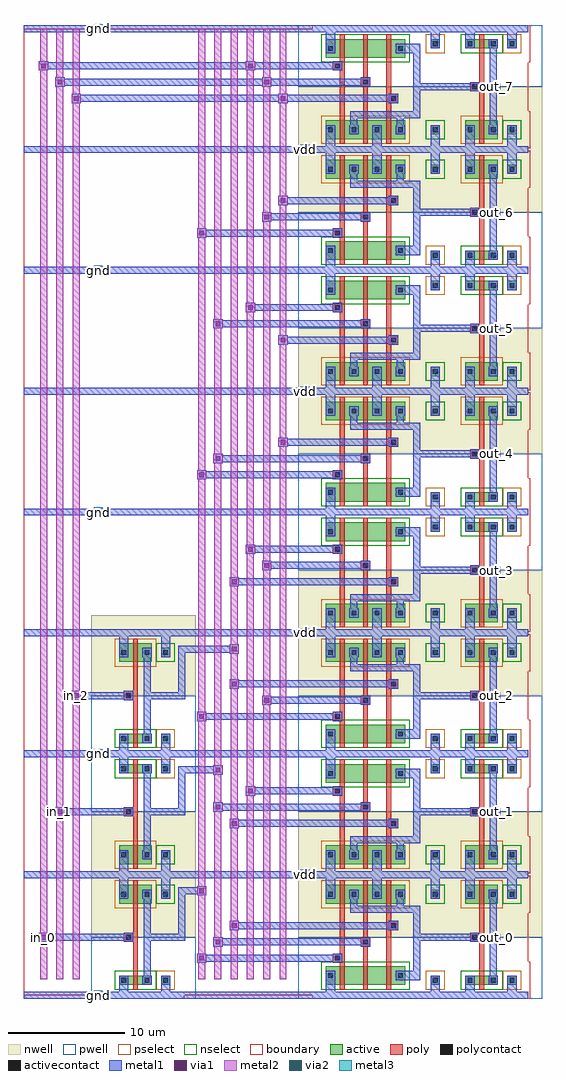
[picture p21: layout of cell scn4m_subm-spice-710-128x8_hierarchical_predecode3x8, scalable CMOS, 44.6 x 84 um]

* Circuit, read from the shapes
.subckt scn4m_subm-spice-710-128x8_hierarchical_predecode3x8 gnd in_0 in_1 in_2 out_0 out_1 out_2 out_3 out_4 out_5 out_6 out_7 vdd
M1 scn4m_subm-spice-710-128x8_and3_dec_3/A in_0 gnd gnd nfet w=0.8u l=0.4u
M2 scn4m_subm-spice-710-128x8_and3_dec_3/B in_1 gnd gnd nfet w=0.8u l=0.4u
M3 scn4m_subm-spice-710-128x8_and3_dec_3/C in_2 gnd gnd nfet w=0.8u l=0.4u
M4 scn4m_subm-spice-710-128x8_and3_dec_3/scn4m_subm-spice-710-128x8_pnand3_0/scn4m_subm-spice-710-128x8_nmos_m1_w1_600_sm1_dactive_3/D scn4m_subm-spice-710-128x8_and3_dec_3/A gnd gnd nfet w=1.6u l=0.4u
M5 scn4m_subm-spice-710-128x8_and3_dec_4/scn4m_subm-spice-710-128x8_pnand3_0/scn4m_subm-spice-710-128x8_nmos_m1_w1_600_sm1_dactive_3/D in_0 gnd gnd nfet w=1.6u l=0.4u
M6 scn4m_subm-spice-710-128x8_and3_dec_5/scn4m_subm-spice-710-128x8_pnand3_0/scn4m_subm-spice-710-128x8_nmos_m1_w1_600_sm1_dactive_3/D scn4m_subm-spice-710-128x8_and3_dec_3/A gnd gnd nfet w=1.6u l=0.4u
M7 scn4m_subm-spice-710-128x8_and3_dec_6/scn4m_subm-spice-710-128x8_pnand3_0/scn4m_subm-spice-710-128x8_nmos_m1_w1_600_sm1_dactive_3/D in_0 gnd gnd nfet w=1.6u l=0.4u
M8 scn4m_subm-spice-710-128x8_and3_dec_7/scn4m_subm-spice-710-128x8_pnand3_0/scn4m_subm-spice-710-128x8_nmos_m1_w1_600_sm1_dactive_3/D scn4m_subm-spice-710-128x8_and3_dec_3/A gnd gnd nfet w=1.6u l=0.4u
M9 scn4m_subm-spice-710-128x8_and3_dec_8/scn4m_subm-spice-710-128x8_pnand3_0/scn4m_subm-spice-710-128x8_nmos_m1_w1_600_sm1_dactive_3/D in_0 gnd gnd nfet w=1.6u l=0.4u
M10 scn4m_subm-spice-710-128x8_and3_dec_9/scn4m_subm-spice-710-128x8_pnand3_0/scn4m_subm-spice-710-128x8_nmos_m1_w1_600_sm1_dactive_3/D scn4m_subm-spice-710-128x8_and3_dec_3/A gnd gnd nfet w=1.6u l=0.4u
M11 scn4m_subm-spice-710-128x8_and3_dec_10/scn4m_subm-spice-710-128x8_pnand3_0/scn4m_subm-spice-710-128x8_nmos_m1_w1_600_sm1_dactive_3/D in_0 gnd gnd nfet w=1.6u l=0.4u
M12 scn4m_subm-spice-710-128x8_and3_dec_3/scn4m_subm-spice-710-128x8_pnand3_0/scn4m_subm-spice-710-128x8_nmos_m1_w1_600_sactive_dactive_4/D scn4m_subm-spice-710-128x8_and3_dec_3/B scn4m_subm-spice-710-128x8_and3_dec_3/scn4m_subm-spice-710-128x8_pnand3_0/scn4m_subm-spice-710-128x8_nmos_m1_w1_600_sm1_dactive_3/D gnd nfet w=1.6u l=0.4u
M13 scn4m_subm-spice-710-128x8_and3_dec_4/scn4m_subm-spice-710-128x8_pnand3_0/scn4m_subm-spice-710-128x8_nmos_m1_w1_600_sactive_dactive_4/D scn4m_subm-spice-710-128x8_and3_dec_3/B scn4m_subm-spice-710-128x8_and3_dec_4/scn4m_subm-spice-710-128x8_pnand3_0/scn4m_subm-spice-710-128x8_nmos_m1_w1_600_sm1_dactive_3/D gnd nfet w=1.6u l=0.4u
M14 scn4m_subm-spice-710-128x8_and3_dec_5/scn4m_subm-spice-710-128x8_pnand3_0/scn4m_subm-spice-710-128x8_nmos_m1_w1_600_sactive_dactive_4/D in_1 scn4m_subm-spice-710-128x8_and3_dec_5/scn4m_subm-spice-710-128x8_pnand3_0/scn4m_subm-spice-710-128x8_nmos_m1_w1_600_sm1_dactive_3/D gnd nfet w=1.6u l=0.4u
M15 scn4m_subm-spice-710-128x8_and3_dec_6/scn4m_subm-spice-710-128x8_pnand3_0/scn4m_subm-spice-710-128x8_nmos_m1_w1_600_sactive_dactive_4/D in_1 scn4m_subm-spice-710-128x8_and3_dec_6/scn4m_subm-spice-710-128x8_pnand3_0/scn4m_subm-spice-710-128x8_nmos_m1_w1_600_sm1_dactive_3/D gnd nfet w=1.6u l=0.4u
M16 scn4m_subm-spice-710-128x8_and3_dec_7/scn4m_subm-spice-710-128x8_pnand3_0/scn4m_subm-spice-710-128x8_nmos_m1_w1_600_sactive_dactive_4/D scn4m_subm-spice-710-128x8_and3_dec_3/B scn4m_subm-spice-710-128x8_and3_dec_7/scn4m_subm-spice-710-128x8_pnand3_0/scn4m_subm-spice-710-128x8_nmos_m1_w1_600_sm1_dactive_3/D gnd nfet w=1.6u l=0.4u
M17 scn4m_subm-spice-710-128x8_and3_dec_8/scn4m_subm-spice-710-128x8_pnand3_0/scn4m_subm-spice-710-128x8_nmos_m1_w1_600_sactive_dactive_4/D scn4m_subm-spice-710-128x8_and3_dec_3/B scn4m_subm-spice-710-128x8_and3_dec_8/scn4m_subm-spice-710-128x8_pnand3_0/scn4m_subm-spice-710-128x8_nmos_m1_w1_600_sm1_dactive_3/D gnd nfet w=1.6u l=0.4u
M18 scn4m_subm-spice-710-128x8_and3_dec_9/scn4m_subm-spice-710-128x8_pnand3_0/scn4m_subm-spice-710-128x8_nmos_m1_w1_600_sactive_dactive_4/D in_1 scn4m_subm-spice-710-128x8_and3_dec_9/scn4m_subm-spice-710-128x8_pnand3_0/scn4m_subm-spice-710-128x8_nmos_m1_w1_600_sm1_dactive_3/D gnd nfet w=1.6u l=0.4u
M19 scn4m_subm-spice-710-128x8_and3_dec_10/scn4m_subm-spice-710-128x8_pnand3_0/scn4m_subm-spice-710-128x8_nmos_m1_w1_600_sactive_dactive_4/D in_1 scn4m_subm-spice-710-128x8_and3_dec_10/scn4m_subm-spice-710-128x8_pnand3_0/scn4m_subm-spice-710-128x8_nmos_m1_w1_600_sm1_dactive_3/D gnd nfet w=1.6u l=0.4u
M20 scn4m_subm-spice-710-128x8_and3_dec_3/scn4m_subm-spice-710-128x8_pinv_1/A scn4m_subm-spice-710-128x8_and3_dec_3/C scn4m_subm-spice-710-128x8_and3_dec_3/scn4m_subm-spice-710-128x8_pnand3_0/scn4m_subm-spice-710-128x8_nmos_m1_w1_600_sactive_dactive_4/D gnd nfet w=1.6u l=0.4u
M21 scn4m_subm-spice-710-128x8_and3_dec_4/scn4m_subm-spice-710-128x8_pinv_1/A scn4m_subm-spice-710-128x8_and3_dec_3/C scn4m_subm-spice-710-128x8_and3_dec_4/scn4m_subm-spice-710-128x8_pnand3_0/scn4m_subm-spice-710-128x8_nmos_m1_w1_600_sactive_dactive_4/D gnd nfet w=1.6u l=0.4u
M22 scn4m_subm-spice-710-128x8_and3_dec_5/scn4m_subm-spice-710-128x8_pinv_1/A scn4m_subm-spice-710-128x8_and3_dec_3/C scn4m_subm-spice-710-128x8_and3_dec_5/scn4m_subm-spice-710-128x8_pnand3_0/scn4m_subm-spice-710-128x8_nmos_m1_w1_600_sactive_dactive_4/D gnd nfet w=1.6u l=0.4u
M23 scn4m_subm-spice-710-128x8_and3_dec_6/scn4m_subm-spice-710-128x8_pinv_1/A scn4m_subm-spice-710-128x8_and3_dec_3/C scn4m_subm-spice-710-128x8_and3_dec_6/scn4m_subm-spice-710-128x8_pnand3_0/scn4m_subm-spice-710-128x8_nmos_m1_w1_600_sactive_dactive_4/D gnd nfet w=1.6u l=0.4u
M24 scn4m_subm-spice-710-128x8_and3_dec_7/scn4m_subm-spice-710-128x8_pinv_1/A in_2 scn4m_subm-spice-710-128x8_and3_dec_7/scn4m_subm-spice-710-128x8_pnand3_0/scn4m_subm-spice-710-128x8_nmos_m1_w1_600_sactive_dactive_4/D gnd nfet w=1.6u l=0.4u
M25 scn4m_subm-spice-710-128x8_and3_dec_8/scn4m_subm-spice-710-128x8_pinv_1/A in_2 scn4m_subm-spice-710-128x8_and3_dec_8/scn4m_subm-spice-710-128x8_pnand3_0/scn4m_subm-spice-710-128x8_nmos_m1_w1_600_sactive_dactive_4/D gnd nfet w=1.6u l=0.4u
M26 scn4m_subm-spice-710-128x8_and3_dec_9/scn4m_subm-spice-710-128x8_pinv_1/A in_2 scn4m_subm-spice-710-128x8_and3_dec_9/scn4m_subm-spice-710-128x8_pnand3_0/scn4m_subm-spice-710-128x8_nmos_m1_w1_600_sactive_dactive_4/D gnd nfet w=1.6u l=0.4u
M27 scn4m_subm-spice-710-128x8_and3_dec_10/scn4m_subm-spice-710-128x8_pinv_1/A in_2 scn4m_subm-spice-710-128x8_and3_dec_10/scn4m_subm-spice-710-128x8_pnand3_0/scn4m_subm-spice-710-128x8_nmos_m1_w1_600_sactive_dactive_4/D gnd nfet w=1.6u l=0.4u
M28 out_0 scn4m_subm-spice-710-128x8_and3_dec_3/scn4m_subm-spice-710-128x8_pinv_1/A gnd gnd nfet w=0.8u l=0.4u
M29 out_1 scn4m_subm-spice-710-128x8_and3_dec_4/scn4m_subm-spice-710-128x8_pinv_1/A gnd gnd nfet w=0.8u l=0.4u
M30 out_2 scn4m_subm-spice-710-128x8_and3_dec_5/scn4m_subm-spice-710-128x8_pinv_1/A gnd gnd nfet w=0.8u l=0.4u
M31 out_3 scn4m_subm-spice-710-128x8_and3_dec_6/scn4m_subm-spice-710-128x8_pinv_1/A gnd gnd nfet w=0.8u l=0.4u
M32 out_4 scn4m_subm-spice-710-128x8_and3_dec_7/scn4m_subm-spice-710-128x8_pinv_1/A gnd gnd nfet w=0.8u l=0.4u
M33 out_5 scn4m_subm-spice-710-128x8_and3_dec_8/scn4m_subm-spice-710-128x8_pinv_1/A gnd gnd nfet w=0.8u l=0.4u
M34 out_6 scn4m_subm-spice-710-128x8_and3_dec_9/scn4m_subm-spice-710-128x8_pinv_1/A gnd gnd nfet w=0.8u l=0.4u
M35 out_7 scn4m_subm-spice-710-128x8_and3_dec_10/scn4m_subm-spice-710-128x8_pinv_1/A gnd gnd nfet w=0.8u l=0.4u
M36 scn4m_subm-spice-710-128x8_and3_dec_3/A in_0 vdd vdd pfet w=1.6u l=0.4u
M37 scn4m_subm-spice-710-128x8_and3_dec_3/B in_1 vdd vdd pfet w=1.6u l=0.4u
M38 scn4m_subm-spice-710-128x8_and3_dec_3/C in_2 vdd vdd pfet w=1.6u l=0.4u
M39 scn4m_subm-spice-710-128x8_and3_dec_3/scn4m_subm-spice-710-128x8_pinv_1/A scn4m_subm-spice-710-128x8_and3_dec_3/A vdd vdd pfet w=1.6u l=0.4u
M40 scn4m_subm-spice-710-128x8_and3_dec_4/scn4m_subm-spice-710-128x8_pinv_1/A in_0 vdd vdd pfet w=1.6u l=0.4u
M41 scn4m_subm-spice-710-128x8_and3_dec_5/scn4m_subm-spice-710-128x8_pinv_1/A scn4m_subm-spice-710-128x8_and3_dec_3/A vdd vdd pfet w=1.6u l=0.4u
M42 scn4m_subm-spice-710-128x8_and3_dec_6/scn4m_subm-spice-710-128x8_pinv_1/A in_0 vdd vdd pfet w=1.6u l=0.4u
M43 scn4m_subm-spice-710-128x8_and3_dec_7/scn4m_subm-spice-710-128x8_pinv_1/A scn4m_subm-spice-710-128x8_and3_dec_3/A vdd vdd pfet w=1.6u l=0.4u
M44 scn4m_subm-spice-710-128x8_and3_dec_8/scn4m_subm-spice-710-128x8_pinv_1/A in_0 vdd vdd pfet w=1.6u l=0.4u
M45 scn4m_subm-spice-710-128x8_and3_dec_9/scn4m_subm-spice-710-128x8_pinv_1/A scn4m_subm-spice-710-128x8_and3_dec_3/A vdd vdd pfet w=1.6u l=0.4u
M46 scn4m_subm-spice-710-128x8_and3_dec_10/scn4m_subm-spice-710-128x8_pinv_1/A in_0 vdd vdd pfet w=1.6u l=0.4u
M47 vdd scn4m_subm-spice-710-128x8_and3_dec_3/B scn4m_subm-spice-710-128x8_and3_dec_3/scn4m_subm-spice-710-128x8_pinv_1/A vdd pfet w=1.6u l=0.4u
M48 vdd scn4m_subm-spice-710-128x8_and3_dec_3/B scn4m_subm-spice-710-128x8_and3_dec_4/scn4m_subm-spice-710-128x8_pinv_1/A vdd pfet w=1.6u l=0.4u
M49 vdd in_1 scn4m_subm-spice-710-128x8_and3_dec_5/scn4m_subm-spice-710-128x8_pinv_1/A vdd pfet w=1.6u l=0.4u
M50 vdd in_1 scn4m_subm-spice-710-128x8_and3_dec_6/scn4m_subm-spice-710-128x8_pinv_1/A vdd pfet w=1.6u l=0.4u
M51 vdd scn4m_subm-spice-710-128x8_and3_dec_3/B scn4m_subm-spice-710-128x8_and3_dec_7/scn4m_subm-spice-710-128x8_pinv_1/A vdd pfet w=1.6u l=0.4u
M52 vdd scn4m_subm-spice-710-128x8_and3_dec_3/B scn4m_subm-spice-710-128x8_and3_dec_8/scn4m_subm-spice-710-128x8_pinv_1/A vdd pfet w=1.6u l=0.4u
M53 vdd in_1 scn4m_subm-spice-710-128x8_and3_dec_9/scn4m_subm-spice-710-128x8_pinv_1/A vdd pfet w=1.6u l=0.4u
M54 vdd in_1 scn4m_subm-spice-710-128x8_and3_dec_10/scn4m_subm-spice-710-128x8_pinv_1/A vdd pfet w=1.6u l=0.4u
M55 scn4m_subm-spice-710-128x8_and3_dec_3/scn4m_subm-spice-710-128x8_pinv_1/A scn4m_subm-spice-710-128x8_and3_dec_3/C vdd vdd pfet w=1.6u l=0.4u
M56 scn4m_subm-spice-710-128x8_and3_dec_4/scn4m_subm-spice-710-128x8_pinv_1/A scn4m_subm-spice-710-128x8_and3_dec_3/C vdd vdd pfet w=1.6u l=0.4u
M57 scn4m_subm-spice-710-128x8_and3_dec_5/scn4m_subm-spice-710-128x8_pinv_1/A scn4m_subm-spice-710-128x8_and3_dec_3/C vdd vdd pfet w=1.6u l=0.4u
M58 scn4m_subm-spice-710-128x8_and3_dec_6/scn4m_subm-spice-710-128x8_pinv_1/A scn4m_subm-spice-710-128x8_and3_dec_3/C vdd vdd pfet w=1.6u l=0.4u
M59 scn4m_subm-spice-710-128x8_and3_dec_7/scn4m_subm-spice-710-128x8_pinv_1/A in_2 vdd vdd pfet w=1.6u l=0.4u
M60 scn4m_subm-spice-710-128x8_and3_dec_8/scn4m_subm-spice-710-128x8_pinv_1/A in_2 vdd vdd pfet w=1.6u l=0.4u
M61 scn4m_subm-spice-710-128x8_and3_dec_9/scn4m_subm-spice-710-128x8_pinv_1/A in_2 vdd vdd pfet w=1.6u l=0.4u
M62 scn4m_subm-spice-710-128x8_and3_dec_10/scn4m_subm-spice-710-128x8_pinv_1/A in_2 vdd vdd pfet w=1.6u l=0.4u
M63 out_0 scn4m_subm-spice-710-128x8_and3_dec_3/scn4m_subm-spice-710-128x8_pinv_1/A vdd vdd pfet w=1.6u l=0.4u
M64 out_1 scn4m_subm-spice-710-128x8_and3_dec_4/scn4m_subm-spice-710-128x8_pinv_1/A vdd vdd pfet w=1.6u l=0.4u
M65 out_2 scn4m_subm-spice-710-128x8_and3_dec_5/scn4m_subm-spice-710-128x8_pinv_1/A vdd vdd pfet w=1.6u l=0.4u
M66 out_3 scn4m_subm-spice-710-128x8_and3_dec_6/scn4m_subm-spice-710-128x8_pinv_1/A vdd vdd pfet w=1.6u l=0.4u
M67 out_4 scn4m_subm-spice-710-128x8_and3_dec_7/scn4m_subm-spice-710-128x8_pinv_1/A vdd vdd pfet w=1.6u l=0.4u
M68 out_5 scn4m_subm-spice-710-128x8_and3_dec_8/scn4m_subm-spice-710-128x8_pinv_1/A vdd vdd pfet w=1.6u l=0.4u
M69 out_6 scn4m_subm-spice-710-128x8_and3_dec_9/scn4m_subm-spice-710-128x8_pinv_1/A vdd vdd pfet w=1.6u l=0.4u
M70 out_7 scn4m_subm-spice-710-128x8_and3_dec_10/scn4m_subm-spice-710-128x8_pinv_1/A vdd vdd pfet w=1.6u l=0.4u
.ends

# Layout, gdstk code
import gdstk
lib = gdstk.Library(unit=1e-6, precision=1e-09)
def R(c, l, rs):  # rectangles x0, y0, x1, y1
    for r in rs: c.add(gdstk.rectangle(r[:2], r[2:], *l))
def A(c, l, x, y, w, h, nx, ny, dx, dy):  # array of equal rectangles
    R(c, l, [(x+i*dx, y+j*dy, x+i*dx+w, y+j*dy+h) for i in range(nx) for j in range(ny)])
pwell = (41, 0)
nwell = (42, 0)
active = (43, 0)
pselect = (44, 0)
nselect = (45, 0)
poly = (46, 0)
polycontact = (47, 0)
activecontact = (48, 0)
metal1 = (49, 0)
via1 = (50, 0)
metal2 = (51, 0)
via2 = (61, 0)
metal3 = (62, 0)
boundary = (63, 0)

scn4m_subm_spice_710_128 = lib.new_cell('scn4m_subm-spice-710-128x8_contact_12')
R(scn4m_subm_spice_710_128, nwell, [(-1.2,-1.2,2,2)])
R(scn4m_subm_spice_710_128, active, [(0,0,0.8,0.8)])
R(scn4m_subm_spice_710_128, pselect, [(-0.4,-0.4,1.2,1.2)])
R(scn4m_subm_spice_710_128, activecontact, [(0.2,0.2,0.6,0.6)])
R(scn4m_subm_spice_710_128, metal1, [(0,0,0.8,0.8)])
R(scn4m_subm_spice_710_128, boundary, [(-1.2,-1.2,2,2)])

c_scn4m_subm_spice_710_128 = lib.new_cell('scn4m_subm-spice-710-128x8_pmos_m1_w1_600_sm1_dm1_da_p')
R(c_scn4m_subm_spice_710_128, nwell, [(-1.2,-1.2,4,2.8)])
R(c_scn4m_subm_spice_710_128, active, [(0,0,2.8,1.6)])
R(c_scn4m_subm_spice_710_128, pselect, [(-0.4,-0.4,3.2,2)])
R(c_scn4m_subm_spice_710_128, poly, [(1.2,-0.4,1.6,2), (1.2,-0.4,1.6,2)])
R(c_scn4m_subm_spice_710_128, metal1, [(0,0.4,0.8,1.2), (2,0.4,2.8,1.2)])
R(c_scn4m_subm_spice_710_128, boundary, [(-1.2,-1.2,4,2.8)])
c_scn4m_subm_spice_710_128.add(gdstk.Reference(scn4m_subm_spice_710_128, (0,0.4)))
c_scn4m_subm_spice_710_128.add(gdstk.Reference(scn4m_subm_spice_710_128, (2,0.4)))
c_scn4m_subm_spice_710_128.add(gdstk.Label('G', (1.4,0.8), layer=46, texttype=0))
c_scn4m_subm_spice_710_128.add(gdstk.Label('S', (0.4,0.8), layer=49, texttype=0))
c_scn4m_subm_spice_710_128.add(gdstk.Label('D', (2.4,0.8), layer=49, texttype=0))

c_scn4m_subm_spice_710_128_ = lib.new_cell('scn4m_subm-spice-710-128x8_contact_11')
R(c_scn4m_subm_spice_710_128_, pwell, [(-1.2,-1.2,2,2)])
R(c_scn4m_subm_spice_710_128_, active, [(0,0,0.8,0.8)])
R(c_scn4m_subm_spice_710_128_, nselect, [(-0.4,-0.4,1.2,1.2)])
R(c_scn4m_subm_spice_710_128_, activecontact, [(0.2,0.2,0.6,0.6)])
R(c_scn4m_subm_spice_710_128_, metal1, [(0,0,0.8,0.8)])
R(c_scn4m_subm_spice_710_128_, boundary, [(-1.2,-1.2,2,2)])

c_scn4m_subm_spice_710_128__ = lib.new_cell('scn4m_subm-spice-710-128x8_nmos_m1_w0_800_sm1_dm1_da_p')
R(c_scn4m_subm_spice_710_128__, pwell, [(-1.2,-1.2,4,2)])
R(c_scn4m_subm_spice_710_128__, active, [(0,0,2.8,0.8)])
R(c_scn4m_subm_spice_710_128__, nselect, [(-0.4,-0.4,3.2,1.2)])
R(c_scn4m_subm_spice_710_128__, poly, [(1.2,-0.4,1.6,1.2), (1.2,-0.4,1.6,1.2)])
R(c_scn4m_subm_spice_710_128__, metal1, [(0,0,0.8,0.8), (2,0,2.8,0.8)])
R(c_scn4m_subm_spice_710_128__, boundary, [(-1.2,-1.2,4,2)])
c_scn4m_subm_spice_710_128__.add(gdstk.Reference(c_scn4m_subm_spice_710_128_, (0,0)))
c_scn4m_subm_spice_710_128__.add(gdstk.Reference(c_scn4m_subm_spice_710_128_, (2,0)))
c_scn4m_subm_spice_710_128__.add(gdstk.Label('G', (1.4,0.4), layer=46, texttype=0))
c_scn4m_subm_spice_710_128__.add(gdstk.Label('S', (0.4,0.4), layer=49, texttype=0))
c_scn4m_subm_spice_710_128__.add(gdstk.Label('D', (2.4,0.4), layer=49, texttype=0))

c_scn4m_subm_spice_710_128___ = lib.new_cell('scn4m_subm-spice-710-128x8_contact_13')
R(c_scn4m_subm_spice_710_128___, nwell, [(-1.2,-1.2,2,2)])
R(c_scn4m_subm_spice_710_128___, active, [(0,0,0.8,0.8)])
R(c_scn4m_subm_spice_710_128___, nselect, [(-0.4,-0.4,1.2,1.2)])
R(c_scn4m_subm_spice_710_128___, activecontact, [(0.2,0.2,0.6,0.6)])
R(c_scn4m_subm_spice_710_128___, metal1, [(0,0,0.8,0.8)])
R(c_scn4m_subm_spice_710_128___, boundary, [(-1.2,-1.2,2,2)])

c_scn4m_subm_spice_710_128____ = lib.new_cell('scn4m_subm-spice-710-128x8_contact_14')
R(c_scn4m_subm_spice_710_128____, pwell, [(-1.2,-1.2,2,2)])
R(c_scn4m_subm_spice_710_128____, active, [(0,0,0.8,0.8)])
R(c_scn4m_subm_spice_710_128____, pselect, [(-0.4,-0.4,1.2,1.2)])
R(c_scn4m_subm_spice_710_128____, activecontact, [(0.2,0.2,0.6,0.6)])
R(c_scn4m_subm_spice_710_128____, metal1, [(0,0,0.8,0.8)])
R(c_scn4m_subm_spice_710_128____, boundary, [(-1.2,-1.2,2,2)])

c_scn4m_subm_spice_710_128_____ = lib.new_cell('scn4m_subm-spice-710-128x8_contact_15')
R(c_scn4m_subm_spice_710_128_____, poly, [(0,0,0.8,0.8)])
R(c_scn4m_subm_spice_710_128_____, polycontact, [(0.2,0.2,0.6,0.6)])
R(c_scn4m_subm_spice_710_128_____, metal1, [(0,0,0.8,0.8)])
R(c_scn4m_subm_spice_710_128_____, boundary, [(0,0,0.8,0.8)])

c_scn4m_subm_spice_710_128______ = lib.new_cell('scn4m_subm-spice-710-128x8_pinv')
R(c_scn4m_subm_spice_710_128______, pwell, [(-1.2,-0.3,7.8,5)])
R(c_scn4m_subm_spice_710_128______, nwell, [(-1.2,5,7.8,11.9)])
R(c_scn4m_subm_spice_710_128______, poly, [(2.4,2.1,2.8,7.5), (2,4.6,2.4,5.4)])
R(c_scn4m_subm_spice_710_128______, metal1, [(0,-0.3,6.6,0.3), (1.2,-0.3,2,0.9), (4.8,0,5.6,1.3), (3.3,0.9,3.9,9.1), (1.6,4.6,2.4,5.4), (3.6,4.7,4.2,5.3), (1.2,8.3,2,10.7), (4.8,8.7,5.6,10.4), (0,10.1,6.6,10.7)])
R(c_scn4m_subm_spice_710_128______, boundary, [(0,0,6.6,10.4), (0,0,6.6,10.4)])
c_scn4m_subm_spice_710_128______.add(gdstk.Reference(c_scn4m_subm_spice_710_128, (1.2,7.9)))
c_scn4m_subm_spice_710_128______.add(gdstk.Reference(c_scn4m_subm_spice_710_128__, (1.2,0.9)))
c_scn4m_subm_spice_710_128______.add(gdstk.Reference(c_scn4m_subm_spice_710_128___, (4.8,8.3)))
c_scn4m_subm_spice_710_128______.add(gdstk.Reference(c_scn4m_subm_spice_710_128____, (4.8,0.9)))
c_scn4m_subm_spice_710_128______.add(gdstk.Reference(c_scn4m_subm_spice_710_128_____, (1.6,4.6)))
c_scn4m_subm_spice_710_128______.add(gdstk.Label('A', (2,5), layer=49, texttype=0))
c_scn4m_subm_spice_710_128______.add(gdstk.Label('Z', (3.9,5), layer=49, texttype=0))
c_scn4m_subm_spice_710_128______.add(gdstk.Label('gnd', (3.3,0), layer=49, texttype=0))
c_scn4m_subm_spice_710_128______.add(gdstk.Label('vdd', (3.3,10.4), layer=49, texttype=0))

c_scn4m_subm_spice_710_128_______ = lib.new_cell('scn4m_subm-spice-710-128x8_pmos_m1_w1_600_sm1_dm1')
R(c_scn4m_subm_spice_710_128_______, nwell, [(-1.2,-1.2,4,2.8)])
R(c_scn4m_subm_spice_710_128_______, active, [(0,0,2.8,1.6)])
R(c_scn4m_subm_spice_710_128_______, pselect, [(-0.4,-0.4,3.2,2)])
R(c_scn4m_subm_spice_710_128_______, poly, [(1.2,-0.4,1.6,2), (1.2,-0.4,1.6,2)])
R(c_scn4m_subm_spice_710_128_______, metal1, [(0,0.4,0.8,1.2), (2,0.4,2.8,1.2)])
R(c_scn4m_subm_spice_710_128_______, boundary, [(-1.2,-1.2,4,2.8)])
c_scn4m_subm_spice_710_128_______.add(gdstk.Reference(scn4m_subm_spice_710_128, (0,0.4)))
c_scn4m_subm_spice_710_128_______.add(gdstk.Reference(scn4m_subm_spice_710_128, (2,0.4)))
c_scn4m_subm_spice_710_128_______.add(gdstk.Label('G', (1.4,0.8), layer=46, texttype=0))
c_scn4m_subm_spice_710_128_______.add(gdstk.Label('S', (0.4,0.8), layer=49, texttype=0))
c_scn4m_subm_spice_710_128_______.add(gdstk.Label('D', (2.4,0.8), layer=49, texttype=0))

c_scn4m_subm_spice_710_128________ = lib.new_cell('scn4m_subm-spice-710-128x8_nmos_m1_w1_600_sm1_dactive')
R(c_scn4m_subm_spice_710_128________, pwell, [(-1.2,-1.2,4,2.8)])
R(c_scn4m_subm_spice_710_128________, active, [(0,0,2.8,1.6), (2.1,0.5,2.7,1.1)])
R(c_scn4m_subm_spice_710_128________, nselect, [(-0.4,-0.4,3.2,2)])
R(c_scn4m_subm_spice_710_128________, poly, [(1.2,-0.4,1.6,2), (1.2,-0.4,1.6,2)])
R(c_scn4m_subm_spice_710_128________, metal1, [(0,0.4,0.8,1.2)])
R(c_scn4m_subm_spice_710_128________, boundary, [(-1.2,-1.2,4,2.8)])
c_scn4m_subm_spice_710_128________.add(gdstk.Reference(c_scn4m_subm_spice_710_128_, (0,0.4)))
c_scn4m_subm_spice_710_128________.add(gdstk.Label('G', (1.4,0.8), layer=46, texttype=0))
c_scn4m_subm_spice_710_128________.add(gdstk.Label('S', (0.4,0.8), layer=49, texttype=0))
c_scn4m_subm_spice_710_128________.add(gdstk.Label('D', (2.4,0.8), layer=43, texttype=0))

c_scn4m_subm_spice_710_128_________ = lib.new_cell('scn4m_subm-spice-710-128x8_nmos_m1_w1_600_sactive_dactive')
R(c_scn4m_subm_spice_710_128_________, pwell, [(-1.2,-1.2,4,2.8)])
R(c_scn4m_subm_spice_710_128_________, active, [(0,0,2.8,1.6), (0.1,0.5,0.7,1.1), (2.1,0.5,2.7,1.1)])
R(c_scn4m_subm_spice_710_128_________, nselect, [(-0.4,-0.4,3.2,2)])
R(c_scn4m_subm_spice_710_128_________, poly, [(1.2,-0.4,1.6,2), (1.2,-0.4,1.6,2)])
R(c_scn4m_subm_spice_710_128_________, boundary, [(-1.2,-1.2,4,2.8)])
c_scn4m_subm_spice_710_128_________.add(gdstk.Label('G', (1.4,0.8), layer=46, texttype=0))
c_scn4m_subm_spice_710_128_________.add(gdstk.Label('S', (0.4,0.8), layer=43, texttype=0))
c_scn4m_subm_spice_710_128_________.add(gdstk.Label('D', (2.4,0.8), layer=43, texttype=0))

c_scn4m_subm_spice_710_128__________ = lib.new_cell('scn4m_subm-spice-710-128x8_nmos_m1_w1_600_sactive_dm1')
R(c_scn4m_subm_spice_710_128__________, pwell, [(-1.2,-1.2,4,2.8)])
R(c_scn4m_subm_spice_710_128__________, active, [(0,0,2.8,1.6), (0.1,0.5,0.7,1.1)])
R(c_scn4m_subm_spice_710_128__________, nselect, [(-0.4,-0.4,3.2,2)])
R(c_scn4m_subm_spice_710_128__________, poly, [(1.2,-0.4,1.6,2), (1.2,-0.4,1.6,2)])
R(c_scn4m_subm_spice_710_128__________, metal1, [(2,0.4,2.8,1.2)])
R(c_scn4m_subm_spice_710_128__________, boundary, [(-1.2,-1.2,4,2.8)])
c_scn4m_subm_spice_710_128__________.add(gdstk.Reference(c_scn4m_subm_spice_710_128_, (2,0.4)))
c_scn4m_subm_spice_710_128__________.add(gdstk.Label('G', (1.4,0.8), layer=46, texttype=0))
c_scn4m_subm_spice_710_128__________.add(gdstk.Label('S', (0.4,0.8), layer=43, texttype=0))
c_scn4m_subm_spice_710_128__________.add(gdstk.Label('D', (2.4,0.8), layer=49, texttype=0))

c_scn4m_subm_spice_710_128___________ = lib.new_cell('scn4m_subm-spice-710-128x8_pnand3')
R(c_scn4m_subm_spice_710_128___________, pwell, [(-1.2,-0.3,13.2,5)])
R(c_scn4m_subm_spice_710_128___________, nwell, [(-1.2,5,13.2,11.9)])
A(c_scn4m_subm_spice_710_128___________, poly, 2.4, 2.9, 0.4, 4.6, 3, 1, 2, 0)
R(c_scn4m_subm_spice_710_128___________, poly, [(2.2,2.8,2.4,3.6), (4.4,4.2,4.6,5), (6.4,5.6,7,6.4)])
R(c_scn4m_subm_spice_710_128___________, metal1, [(0,-0.3,12,0.3), (1.2,-0.3,2,1.3), (10.2,0,11,1.3), (7.6,1.3,9,2.1), (8.7,1.3,9.3,7.4), (1.8,2.8,2.6,3.6), (4.2,4.2,5,5), (6.6,5.6,7.4,6.4), (3.3,7.1,3.9,7.7), (3.6,7.1,9,7.7), (7.3,7.1,7.9,7.7), (7.6,7.1,9,7.7), (8.7,7.1,9.3,7.7), (3.3,7.4,3.9,8.7), (7.3,7.4,7.9,8.7), (1.2,8.3,2,10.7), (5.2,8.3,6,10.7), (10.2,8.7,11,10.4), (0,10.1,12,10.7)])
R(c_scn4m_subm_spice_710_128___________, boundary, [(0,0,12,10.4), (0,0,12,10.4)])
c_scn4m_subm_spice_710_128___________.add(gdstk.Reference(c_scn4m_subm_spice_710_128_______, (1.2,7.9)))
c_scn4m_subm_spice_710_128___________.add(gdstk.Reference(c_scn4m_subm_spice_710_128_______, (3.2,7.9)))
c_scn4m_subm_spice_710_128___________.add(gdstk.Reference(c_scn4m_subm_spice_710_128_______, (5.2,7.9)))
c_scn4m_subm_spice_710_128___________.add(gdstk.Reference(c_scn4m_subm_spice_710_128________, (1.2,0.9)))
c_scn4m_subm_spice_710_128___________.add(gdstk.Reference(c_scn4m_subm_spice_710_128_________, (3.2,0.9)))
c_scn4m_subm_spice_710_128___________.add(gdstk.Reference(c_scn4m_subm_spice_710_128__________, (5.2,0.9)))
c_scn4m_subm_spice_710_128___________.add(gdstk.Reference(c_scn4m_subm_spice_710_128___, (10.2,8.3)))
c_scn4m_subm_spice_710_128___________.add(gdstk.Reference(c_scn4m_subm_spice_710_128____, (10.2,0.9)))
c_scn4m_subm_spice_710_128___________.add(gdstk.Reference(c_scn4m_subm_spice_710_128_____, (1.8,2.8)))
c_scn4m_subm_spice_710_128___________.add(gdstk.Reference(c_scn4m_subm_spice_710_128_____, (4.2,4.2)))
c_scn4m_subm_spice_710_128___________.add(gdstk.Reference(c_scn4m_subm_spice_710_128_____, (6.6,5.6)))
c_scn4m_subm_spice_710_128___________.add(gdstk.Label('A', (2.2,3.2), layer=49, texttype=0))
c_scn4m_subm_spice_710_128___________.add(gdstk.Label('B', (4.6,4.6), layer=49, texttype=0))
c_scn4m_subm_spice_710_128___________.add(gdstk.Label('C', (7,6), layer=49, texttype=0))
c_scn4m_subm_spice_710_128___________.add(gdstk.Label('Z', (9,7.4), layer=49, texttype=0))
c_scn4m_subm_spice_710_128___________.add(gdstk.Label('gnd', (6,0), layer=49, texttype=0))
c_scn4m_subm_spice_710_128___________.add(gdstk.Label('vdd', (6,10.4), layer=49, texttype=0))

c_scn4m_subm_spice_710_128____________ = lib.new_cell('scn4m_subm-spice-710-128x8_and3_dec')
R(c_scn4m_subm_spice_710_128____________, metal1, [(0,-0.3,18.6,0.3), (1.8,2.8,2.6,3.6), (4.2,4.2,5,5), (8.7,4.7,9.3,5.3), (9,4.7,14,5.3), (15.6,4.7,16.2,5.3), (8.7,5,9.3,7.4), (6.6,5.6,7.4,6.4), (0,10.1,18.6,10.7)])
R(c_scn4m_subm_spice_710_128____________, boundary, [(0,0,18.6,10.4)])
c_scn4m_subm_spice_710_128____________.add(gdstk.Reference(c_scn4m_subm_spice_710_128___________, (0,0)))
c_scn4m_subm_spice_710_128____________.add(gdstk.Reference(c_scn4m_subm_spice_710_128______, (12,0)))
c_scn4m_subm_spice_710_128____________.add(gdstk.Label('Z', (15.9,5), layer=49, texttype=0))
c_scn4m_subm_spice_710_128____________.add(gdstk.Label('A', (2.2,3.2), layer=49, texttype=0))
c_scn4m_subm_spice_710_128____________.add(gdstk.Label('B', (4.6,4.6), layer=49, texttype=0))
c_scn4m_subm_spice_710_128____________.add(gdstk.Label('C', (7,6), layer=49, texttype=0))
c_scn4m_subm_spice_710_128____________.add(gdstk.Label('gnd', (9.3,0), layer=49, texttype=0))
c_scn4m_subm_spice_710_128____________.add(gdstk.Label('vdd', (9.3,10.4), layer=49, texttype=0))

c_scn4m_subm_spice_710_128_____________ = lib.new_cell('scn4m_subm-spice-710-128x8_contact_16')
R(c_scn4m_subm_spice_710_128_____________, metal1, [(0,0,0.8,0.8)])
R(c_scn4m_subm_spice_710_128_____________, via1, [(0.2,0.2,0.6,0.6)])
R(c_scn4m_subm_spice_710_128_____________, metal2, [(0,0,0.8,0.8)])
R(c_scn4m_subm_spice_710_128_____________, boundary, [(0,0,0.8,0.8)])

c_scn4m_subm_spice_710_128______________ = lib.new_cell('scn4m_subm-spice-710-128x8_contact_18')
R(c_scn4m_subm_spice_710_128______________, metal1, [(0,0,0.8,0.8)])
R(c_scn4m_subm_spice_710_128______________, via1, [(0.2,0.2,0.6,0.6)])
R(c_scn4m_subm_spice_710_128______________, metal2, [(0,0,0.8,0.8)])
R(c_scn4m_subm_spice_710_128______________, boundary, [(0,0,0.8,0.8)])

c_scn4m_subm_spice_710_128_______________ = lib.new_cell('scn4m_subm-spice-710-128x8_contact_19')
R(c_scn4m_subm_spice_710_128_______________, metal2, [(0,0,0.8,0.8)])
R(c_scn4m_subm_spice_710_128_______________, via2, [(0.2,0.2,0.6,0.6)])
R(c_scn4m_subm_spice_710_128_______________, metal3, [(0,0,0.8,0.8)])
R(c_scn4m_subm_spice_710_128_______________, boundary, [(0,0,0.8,0.8)])

c_scn4m_subm_spice_710_128________________ = lib.new_cell('scn4m_subm-spice-710-128x8_hierarchical_predecode3x8')
A(c_scn4m_subm_spice_710_128________________, metal1, 15.3, 2.9, 11.7, 0.6, 1, 4, 0, 20.8)
A(c_scn4m_subm_spice_710_128________________, metal1, 19.5, 17.3, 7.5, 0.6, 1, 4, 0, 20.8)
R(c_scn4m_subm_spice_710_128________________, metal1, [(0,-0.3,43.4,0.3), (26.7,2.9,27.3,3.5), (16.7,4.3,29.4,4.9), (29.1,4.3,29.7,4.9), (1.7,4.7,9,5.3), (8.7,4.7,9.3,5.3), (10.9,4.7,11.5,5.3), (11.2,4.7,13.6,5.3), (13.3,4.7,13.9,5.3), (40.4,4.7,41,5.3), (13.3,5,13.9,9), (18.1,5.7,31.8,6.3), (31.5,5.7,32.1,6.3), (13.3,8.7,13.9,9.3), (13.6,8.7,15.3,9.3), (0,10.1,43.4,10.7), (0,10.1,43.4,10.7), (18.1,14.5,31.8,15.1), (31.5,14.5,32.1,15.1), (3.1,15.5,9,16.1), (8.7,15.5,9.3,16.1), (10.9,15.5,11.5,16.1), (11.2,15.5,13.6,16.1), (13.3,15.5,13.9,16.1), (40.4,15.5,41,16.1), (13.3,15.8,13.9,19.4), (16.7,15.9,29.4,16.5), (29.1,15.9,29.7,16.5), (26.7,17.3,27.3,17.9), (13.3,19.1,13.9,19.7), (13.6,19.1,16.7,19.7), (0,20.5,43.4,21.1), (0,20.5,43.4,21.1), (26.7,23.7,27.3,24.3), (20.9,25.1,29.4,25.7), (29.1,25.1,29.7,25.7), (4.5,25.5,9,26.1), (8.7,25.5,9.3,26.1), (10.9,25.5,11.5,26.1), (11.2,25.5,13.6,26.1), (13.3,25.5,13.9,26.1), (40.4,25.5,41,26.1), (13.3,25.8,13.9,29.8), (18.1,26.5,31.8,27.1), (31.5,26.5,32.1,27.1), (13.3,29.5,13.9,30.1), (13.6,29.5,18.1,30.1), (0,30.9,43.4,31.5), (0,30.9,43.4,31.5), (18.1,35.3,31.8,35.9), (31.5,35.3,32.1,35.9), (40.4,36.3,41,36.9), (20.9,36.7,29.4,37.3), (29.1,36.7,29.7,37.3), (26.7,38.1,27.3,38.7), (0,41.3,43.4,41.9), (0,41.3,43.4,41.9), (26.7,44.5,27.3,45.1), (16.7,45.9,29.4,46.5), (29.1,45.9,29.7,46.5), (40.4,46.3,41,46.9), (22.3,47.3,31.8,47.9), (31.5,47.3,32.1,47.9), (0,51.7,43.4,52.3), (0,51.7,43.4,52.3), (22.3,56.1,31.8,56.7), (31.5,56.1,32.1,56.7), (40.4,57.1,41,57.7), (16.7,57.5,29.4,58.1), (29.1,57.5,29.7,58.1), (26.7,58.9,27.3,59.5), (0,62.1,43.4,62.7), (0,62.1,43.4,62.7), (26.7,65.3,27.3,65.9), (20.9,66.7,29.4,67.3), (29.1,66.7,29.7,67.3), (40.4,67.1,41,67.7), (22.3,68.1,31.8,68.7), (31.5,68.1,32.1,68.7), (0,72.5,43.4,73.1), (0,72.5,43.4,73.1), (4.5,76.9,22.3,77.5), (22.3,76.9,31.8,77.5), (31.5,76.9,32.1,77.5), (40.4,77.9,41,78.5), (3.1,78.3,20.9,78.9), (20.9,78.3,29.4,78.9), (29.1,78.3,29.7,78.9), (1.7,79.7,19.5,80.3), (26.7,79.7,27.3,80.3), (0,82.9,43.4,83.5)])
A(c_scn4m_subm_spice_710_128________________, metal2, 1.4, 1.4, 0.6, 81.8, 3, 1, 1.4, 0)
A(c_scn4m_subm_spice_710_128________________, metal2, 15, 1.4, 0.6, 81.8, 6, 1, 1.4, 0)
R(c_scn4m_subm_spice_710_128________________, metal2, [(1.3,4.6,2.1,5.4), (2.7,15.4,3.5,16.2), (4.1,25.4,4.9,26.2)])
A(c_scn4m_subm_spice_710_128________________, metal3, 6, -0.4, 0.8, 0.8, 1, 5, 0, 20.8)
A(c_scn4m_subm_spice_710_128________________, metal3, 23.8, 10, 0.8, 0.8, 1, 4, 0, 20.8)
R(c_scn4m_subm_spice_710_128________________, boundary, [(0,0,43.4,83.2)])
c_scn4m_subm_spice_710_128________________.add(gdstk.Reference(c_scn4m_subm_spice_710_128______, (7,0)))
c_scn4m_subm_spice_710_128________________.add(gdstk.Reference(c_scn4m_subm_spice_710_128______, (7,20.8), x_reflection=True))
c_scn4m_subm_spice_710_128________________.add(gdstk.Reference(c_scn4m_subm_spice_710_128______, (7,20.8)))
c_scn4m_subm_spice_710_128________________.add(gdstk.Reference(c_scn4m_subm_spice_710_128____________, (24.8,0)))
c_scn4m_subm_spice_710_128________________.add(gdstk.Reference(c_scn4m_subm_spice_710_128____________, (24.8,20.8), x_reflection=True))
c_scn4m_subm_spice_710_128________________.add(gdstk.Reference(c_scn4m_subm_spice_710_128____________, (24.8,20.8)))
c_scn4m_subm_spice_710_128________________.add(gdstk.Reference(c_scn4m_subm_spice_710_128____________, (24.8,41.6), x_reflection=True))
c_scn4m_subm_spice_710_128________________.add(gdstk.Reference(c_scn4m_subm_spice_710_128____________, (24.8,41.6)))
c_scn4m_subm_spice_710_128________________.add(gdstk.Reference(c_scn4m_subm_spice_710_128____________, (24.8,62.4), x_reflection=True))
c_scn4m_subm_spice_710_128________________.add(gdstk.Reference(c_scn4m_subm_spice_710_128____________, (24.8,62.4)))
c_scn4m_subm_spice_710_128________________.add(gdstk.Reference(c_scn4m_subm_spice_710_128____________, (24.8,83.2), x_reflection=True))
c_scn4m_subm_spice_710_128________________.add(gdstk.Reference(c_scn4m_subm_spice_710_128_____________, (1.3,4.6)))
c_scn4m_subm_spice_710_128________________.add(gdstk.Reference(c_scn4m_subm_spice_710_128_____________, (2.7,15.4)))
c_scn4m_subm_spice_710_128________________.add(gdstk.Reference(c_scn4m_subm_spice_710_128_____________, (4.1,25.4)))
c_scn4m_subm_spice_710_128________________.add(gdstk.Reference(c_scn4m_subm_spice_710_128_____________, (14.9,2.8)))
c_scn4m_subm_spice_710_128________________.add(gdstk.Reference(c_scn4m_subm_spice_710_128_____________, (16.3,4.2)))
c_scn4m_subm_spice_710_128________________.add(gdstk.Reference(c_scn4m_subm_spice_710_128_____________, (17.7,5.6)))
c_scn4m_subm_spice_710_128________________.add(gdstk.Reference(c_scn4m_subm_spice_710_128_____________, (19.1,17.2)))
c_scn4m_subm_spice_710_128________________.add(gdstk.Reference(c_scn4m_subm_spice_710_128_____________, (16.3,15.8)))
c_scn4m_subm_spice_710_128________________.add(gdstk.Reference(c_scn4m_subm_spice_710_128_____________, (17.7,14.4)))
c_scn4m_subm_spice_710_128________________.add(gdstk.Reference(c_scn4m_subm_spice_710_128_____________, (14.9,23.6)))
c_scn4m_subm_spice_710_128________________.add(gdstk.Reference(c_scn4m_subm_spice_710_128_____________, (20.5,25)))
c_scn4m_subm_spice_710_128________________.add(gdstk.Reference(c_scn4m_subm_spice_710_128_____________, (17.7,26.4)))
c_scn4m_subm_spice_710_128________________.add(gdstk.Reference(c_scn4m_subm_spice_710_128_____________, (19.1,38)))
c_scn4m_subm_spice_710_128________________.add(gdstk.Reference(c_scn4m_subm_spice_710_128_____________, (20.5,36.6)))
c_scn4m_subm_spice_710_128________________.add(gdstk.Reference(c_scn4m_subm_spice_710_128_____________, (17.7,35.2)))
c_scn4m_subm_spice_710_128________________.add(gdstk.Reference(c_scn4m_subm_spice_710_128_____________, (14.9,44.4)))
c_scn4m_subm_spice_710_128________________.add(gdstk.Reference(c_scn4m_subm_spice_710_128_____________, (16.3,45.8)))
c_scn4m_subm_spice_710_128________________.add(gdstk.Reference(c_scn4m_subm_spice_710_128_____________, (21.9,47.2)))
c_scn4m_subm_spice_710_128________________.add(gdstk.Reference(c_scn4m_subm_spice_710_128_____________, (19.1,58.8)))
c_scn4m_subm_spice_710_128________________.add(gdstk.Reference(c_scn4m_subm_spice_710_128_____________, (16.3,57.4)))
c_scn4m_subm_spice_710_128________________.add(gdstk.Reference(c_scn4m_subm_spice_710_128_____________, (21.9,56)))
c_scn4m_subm_spice_710_128________________.add(gdstk.Reference(c_scn4m_subm_spice_710_128_____________, (14.9,65.2)))
c_scn4m_subm_spice_710_128________________.add(gdstk.Reference(c_scn4m_subm_spice_710_128_____________, (20.5,66.6)))
c_scn4m_subm_spice_710_128________________.add(gdstk.Reference(c_scn4m_subm_spice_710_128_____________, (21.9,68)))
c_scn4m_subm_spice_710_128________________.add(gdstk.Reference(c_scn4m_subm_spice_710_128_____________, (19.1,79.6)))
c_scn4m_subm_spice_710_128________________.add(gdstk.Reference(c_scn4m_subm_spice_710_128_____________, (20.5,78.2)))
c_scn4m_subm_spice_710_128________________.add(gdstk.Reference(c_scn4m_subm_spice_710_128_____________, (21.9,76.8)))
c_scn4m_subm_spice_710_128________________.add(gdstk.Reference(c_scn4m_subm_spice_710_128_____________, (14.9,8.6)))
c_scn4m_subm_spice_710_128________________.add(gdstk.Reference(c_scn4m_subm_spice_710_128_____________, (16.3,19)))
c_scn4m_subm_spice_710_128________________.add(gdstk.Reference(c_scn4m_subm_spice_710_128_____________, (17.7,29.4)))
c_scn4m_subm_spice_710_128________________.add(gdstk.Reference(c_scn4m_subm_spice_710_128______________, (1.3,79.6)))
c_scn4m_subm_spice_710_128________________.add(gdstk.Reference(c_scn4m_subm_spice_710_128______________, (19.1,79.6)))
c_scn4m_subm_spice_710_128________________.add(gdstk.Reference(c_scn4m_subm_spice_710_128______________, (2.7,78.2)))
c_scn4m_subm_spice_710_128________________.add(gdstk.Reference(c_scn4m_subm_spice_710_128______________, (20.5,78.2)))
c_scn4m_subm_spice_710_128________________.add(gdstk.Reference(c_scn4m_subm_spice_710_128______________, (4.1,76.8)))
c_scn4m_subm_spice_710_128________________.add(gdstk.Reference(c_scn4m_subm_spice_710_128______________, (21.9,76.8)))
c_scn4m_subm_spice_710_128________________.add(gdstk.Reference(c_scn4m_subm_spice_710_128______________, (23.8,10)))
c_scn4m_subm_spice_710_128________________.add(gdstk.Reference(c_scn4m_subm_spice_710_128_______________, (23.8,10)))
c_scn4m_subm_spice_710_128________________.add(gdstk.Reference(c_scn4m_subm_spice_710_128______________, (6,-0.4)))
c_scn4m_subm_spice_710_128________________.add(gdstk.Reference(c_scn4m_subm_spice_710_128_______________, (6,-0.4)))
c_scn4m_subm_spice_710_128________________.add(gdstk.Reference(c_scn4m_subm_spice_710_128______________, (23.8,10)))
c_scn4m_subm_spice_710_128________________.add(gdstk.Reference(c_scn4m_subm_spice_710_128_______________, (23.8,10)))
c_scn4m_subm_spice_710_128________________.add(gdstk.Reference(c_scn4m_subm_spice_710_128______________, (6,20.4)))
c_scn4m_subm_spice_710_128________________.add(gdstk.Reference(c_scn4m_subm_spice_710_128_______________, (6,20.4)))
c_scn4m_subm_spice_710_128________________.add(gdstk.Reference(c_scn4m_subm_spice_710_128______________, (23.8,30.8)))
c_scn4m_subm_spice_710_128________________.add(gdstk.Reference(c_scn4m_subm_spice_710_128_______________, (23.8,30.8)))
c_scn4m_subm_spice_710_128________________.add(gdstk.Reference(c_scn4m_subm_spice_710_128______________, (6,20.4)))
c_scn4m_subm_spice_710_128________________.add(gdstk.Reference(c_scn4m_subm_spice_710_128_______________, (6,20.4)))
c_scn4m_subm_spice_710_128________________.add(gdstk.Reference(c_scn4m_subm_spice_710_128______________, (23.8,30.8)))
c_scn4m_subm_spice_710_128________________.add(gdstk.Reference(c_scn4m_subm_spice_710_128_______________, (23.8,30.8)))
c_scn4m_subm_spice_710_128________________.add(gdstk.Reference(c_scn4m_subm_spice_710_128______________, (6,41.2)))
c_scn4m_subm_spice_710_128________________.add(gdstk.Reference(c_scn4m_subm_spice_710_128_______________, (6,41.2)))
c_scn4m_subm_spice_710_128________________.add(gdstk.Reference(c_scn4m_subm_spice_710_128______________, (23.8,51.6)))
c_scn4m_subm_spice_710_128________________.add(gdstk.Reference(c_scn4m_subm_spice_710_128_______________, (23.8,51.6)))
c_scn4m_subm_spice_710_128________________.add(gdstk.Reference(c_scn4m_subm_spice_710_128______________, (6,41.2)))
c_scn4m_subm_spice_710_128________________.add(gdstk.Reference(c_scn4m_subm_spice_710_128_______________, (6,41.2)))
c_scn4m_subm_spice_710_128________________.add(gdstk.Reference(c_scn4m_subm_spice_710_128______________, (23.8,51.6)))
c_scn4m_subm_spice_710_128________________.add(gdstk.Reference(c_scn4m_subm_spice_710_128_______________, (23.8,51.6)))
c_scn4m_subm_spice_710_128________________.add(gdstk.Reference(c_scn4m_subm_spice_710_128______________, (6,62)))
c_scn4m_subm_spice_710_128________________.add(gdstk.Reference(c_scn4m_subm_spice_710_128_______________, (6,62)))
c_scn4m_subm_spice_710_128________________.add(gdstk.Reference(c_scn4m_subm_spice_710_128______________, (23.8,72.4)))
c_scn4m_subm_spice_710_128________________.add(gdstk.Reference(c_scn4m_subm_spice_710_128_______________, (23.8,72.4)))
c_scn4m_subm_spice_710_128________________.add(gdstk.Reference(c_scn4m_subm_spice_710_128______________, (6,62)))
c_scn4m_subm_spice_710_128________________.add(gdstk.Reference(c_scn4m_subm_spice_710_128_______________, (6,62)))
c_scn4m_subm_spice_710_128________________.add(gdstk.Reference(c_scn4m_subm_spice_710_128______________, (23.8,72.4)))
c_scn4m_subm_spice_710_128________________.add(gdstk.Reference(c_scn4m_subm_spice_710_128_______________, (23.8,72.4)))
c_scn4m_subm_spice_710_128________________.add(gdstk.Reference(c_scn4m_subm_spice_710_128______________, (6,82.8)))
c_scn4m_subm_spice_710_128________________.add(gdstk.Reference(c_scn4m_subm_spice_710_128_______________, (6,82.8)))
c_scn4m_subm_spice_710_128________________.add(gdstk.Label('in_0', (1.7,5), layer=51, texttype=0))
c_scn4m_subm_spice_710_128________________.add(gdstk.Label('in_1', (3.1,15.8), layer=51, texttype=0))
c_scn4m_subm_spice_710_128________________.add(gdstk.Label('in_2', (4.5,25.8), layer=51, texttype=0))
c_scn4m_subm_spice_710_128________________.add(gdstk.Label('out_0', (40.7,5), layer=49, texttype=0))
c_scn4m_subm_spice_710_128________________.add(gdstk.Label('out_1', (40.7,15.8), layer=49, texttype=0))
c_scn4m_subm_spice_710_128________________.add(gdstk.Label('out_2', (40.7,25.8), layer=49, texttype=0))
c_scn4m_subm_spice_710_128________________.add(gdstk.Label('out_3', (40.7,36.6), layer=49, texttype=0))
c_scn4m_subm_spice_710_128________________.add(gdstk.Label('out_4', (40.7,46.6), layer=49, texttype=0))
c_scn4m_subm_spice_710_128________________.add(gdstk.Label('out_5', (40.7,57.4), layer=49, texttype=0))
c_scn4m_subm_spice_710_128________________.add(gdstk.Label('out_6', (40.7,67.4), layer=49, texttype=0))
c_scn4m_subm_spice_710_128________________.add(gdstk.Label('out_7', (40.7,78.2), layer=49, texttype=0))
c_scn4m_subm_spice_710_128________________.add(gdstk.Label('vdd', (24.2,31.2), layer=62, texttype=0))
c_scn4m_subm_spice_710_128________________.add(gdstk.Label('vdd', (24.2,52), layer=62, texttype=0))
c_scn4m_subm_spice_710_128________________.add(gdstk.Label('vdd', (24.2,10.4), layer=62, texttype=0))
c_scn4m_subm_spice_710_128________________.add(gdstk.Label('vdd', (24.2,72.8), layer=62, texttype=0))
c_scn4m_subm_spice_710_128________________.add(gdstk.Label('gnd', (6.4,41.6), layer=62, texttype=0))
c_scn4m_subm_spice_710_128________________.add(gdstk.Label('gnd', (6.4,62.4), layer=62, texttype=0))
c_scn4m_subm_spice_710_128________________.add(gdstk.Label('gnd', (6.4,83.2), layer=62, texttype=0))
c_scn4m_subm_spice_710_128________________.add(gdstk.Label('gnd', (6.4,0), layer=62, texttype=0))
c_scn4m_subm_spice_710_128________________.add(gdstk.Label('gnd', (6.4,20.8), layer=62, texttype=0))

lib.write_gds('scn4m_subm-spice-710-128x8_hierarchical_predecode3x8.gds')
